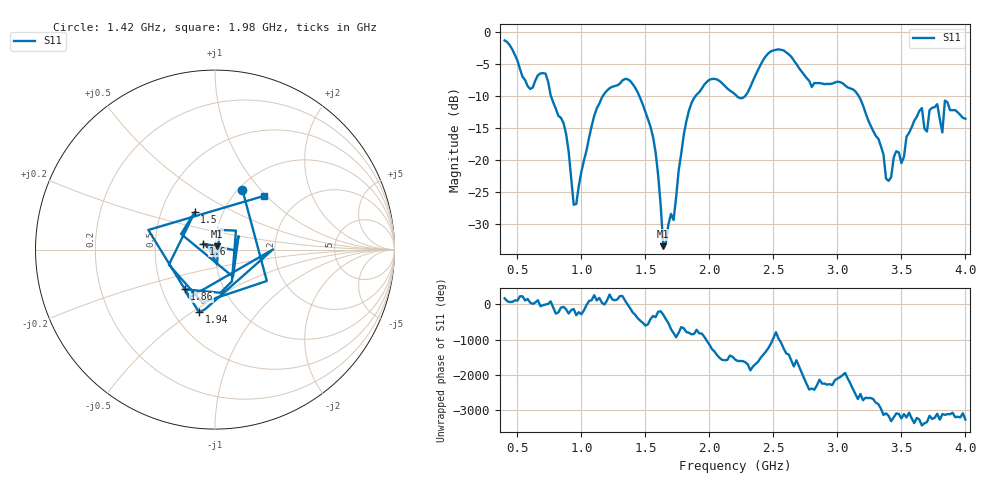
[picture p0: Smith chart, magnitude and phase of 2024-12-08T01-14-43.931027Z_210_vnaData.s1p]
!Created with skrf (http://scikit-rf.org).
# Hz S RI R 50.0
!freq ReS11 ImS11
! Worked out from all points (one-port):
!   181 points, 400 MHz to 4 GHz, reference 50 ohm
!   lowest |S11| = -33.5 dB at 1.64 GHz (marker M1), VSWR 1.04, Z = 50.9 + j1.96 ohm
!   |S11| at or under -10 dB: 761.6 MHz to 1.168 GHz (406.5 MHz wide, 42.1 % of centre); 1.452 GHz to 1.893 GHz (440.5 MHz wide, 26.3 % of centre); 3.165 GHz to end of sweep (the widest 3 of 4)
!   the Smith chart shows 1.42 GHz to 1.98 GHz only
!   S11 on the Smith chart (normalised r, x): 1.42 GHz: 1.04, +0.80; 1.5 GHz: 0.74, +0.33; 1.6 GHz: 0.87, +0.06; 1.86 GHz: 0.65, -0.31; 1.94 GHz: 0.67, -0.54; 1.98 GHz: 1.36, +0.98
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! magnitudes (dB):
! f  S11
! 400 MHz  -1.3
! 600 MHz  -8.9
! 720 MHz  -6.5
! 860 MHz  -14.2
! 960 MHz  -26.9
! 1.12 GHz  -11.9
! 1.3 GHz  -8.1
! 1.42 GHz  -8.7
! 1.5 GHz  -12.5
! 1.6 GHz  -22.5
! 1.64 GHz  -33.5
! 1.72 GHz  -29.4
! 1.76 GHz  -21.6
! 1.86 GHz  -11.1
! 1.94 GHz  -8.9
! 1.98 GHz  -7.8
! 2.2 GHz  -9.7
! 2.48 GHz  -3.0
! 2.66 GHz  -4.4
! 2.8 GHz  -8.6
! 3.1 GHz  -8.8
! 3.32 GHz  -16.7
! 3.4 GHz  -23.3
! 3.56 GHz  -15.8
! 3.78 GHz  -11.3
! 3.82 GHz  -15.7
! 3.84 GHz  -10.7
! 4 GHz  -13.6
